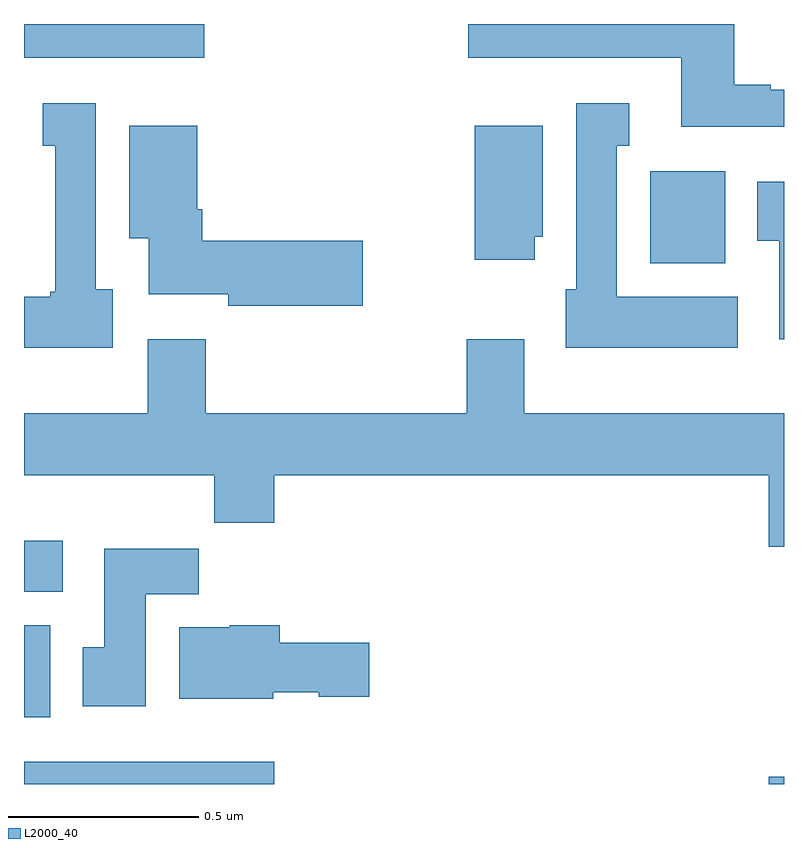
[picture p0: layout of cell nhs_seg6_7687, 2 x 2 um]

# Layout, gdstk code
import gdstk
lib = gdstk.Library(unit=1e-6, precision=1e-09)
def R(c, l, rs):  # rectangles x0, y0, x1, y1
    for r in rs: c.add(gdstk.rectangle(r[:2], r[2:], *l))
def P(c, l, *ps):  # polygons
    for p in ps: c.add(gdstk.Polygon(p, *l))
L2000_40 = (2000, 40)

nhs_seg6_7687 = lib.new_cell('nhs_seg6_7687')
R(nhs_seg6_7687, L2000_40, [(211,970.5,211.658,970.558), (212.96,970.5,213,970.519), (211,970.676,211.069,970.918), (211,971.006,211.102,971.14), (212.648,971.87,212.845,972.112), (211,972.411,211.474,972.5)])
P(nhs_seg6_7687, L2000_40, [(213,972.327),(212.965,972.327),(212.965,972.34),(212.869,972.34),(212.869,972.5),(212.169,972.5),(212.169,972.411),(212.729,972.411),(212.729,972.23),(213,972.23)],
  [(212.878,971.782),(212.56,971.782),(212.56,972.179),(212.593,972.179),(212.593,972.292),(212.453,972.292),(212.453,971.802),(212.426,971.802),(212.426,971.648),(212.878,971.648)],
  [(211.234,971.802),(211.189,971.802),(211.189,972.292),(211.049,972.292),(211.049,972.179),(211.082,972.179),(211.082,971.796),(211.069,971.796),(211.069,971.782),(211,971.782),(211,971.648),(211.234,971.648)],
  [(211.891,971.93),(211.469,971.93),(211.469,972.013),(211.456,972.013),(211.456,972.232),(211.277,972.232),(211.277,971.936),(211.328,971.936),(211.328,971.789),(211.538,971.789),(211.538,971.759),(211.891,971.759)],
  [(212.344,971.94),(212.365,971.94),(212.365,972.232),(212.186,972.232),(212.186,971.88),(212.344,971.88)],
  [(213,972.085),(212.93,972.085),(212.93,971.929),(212.987,971.929),(212.987,971.67),(213,971.67)],
  [(213,971.476),(212.317,971.476),(212.317,971.671),(212.165,971.671),(212.165,971.476),(211.478,971.476),(211.478,971.671),(211.325,971.671),(211.325,971.476),(211,971.476),(211,971.312),(211.501,971.312),(211.501,971.188),(211.658,971.188),(211.658,971.312),(212.96,971.312),(212.96,971.124),(213,971.124)],
  [(211.321,971),(211.46,971),(211.46,971.119),(211.211,971.119),(211.211,970.86),(211.154,970.86),(211.154,970.704),(211.321,970.704)],
  [(211.656,970.742),(211.776,970.742),(211.776,970.73),(211.909,970.73),(211.909,970.872),(211.673,970.872),(211.673,970.918),(211.542,970.918),(211.542,970.912),(211.409,970.912),(211.409,970.724),(211.656,970.724)])

lib.write_gds('nhs_seg6_7687.gds')
